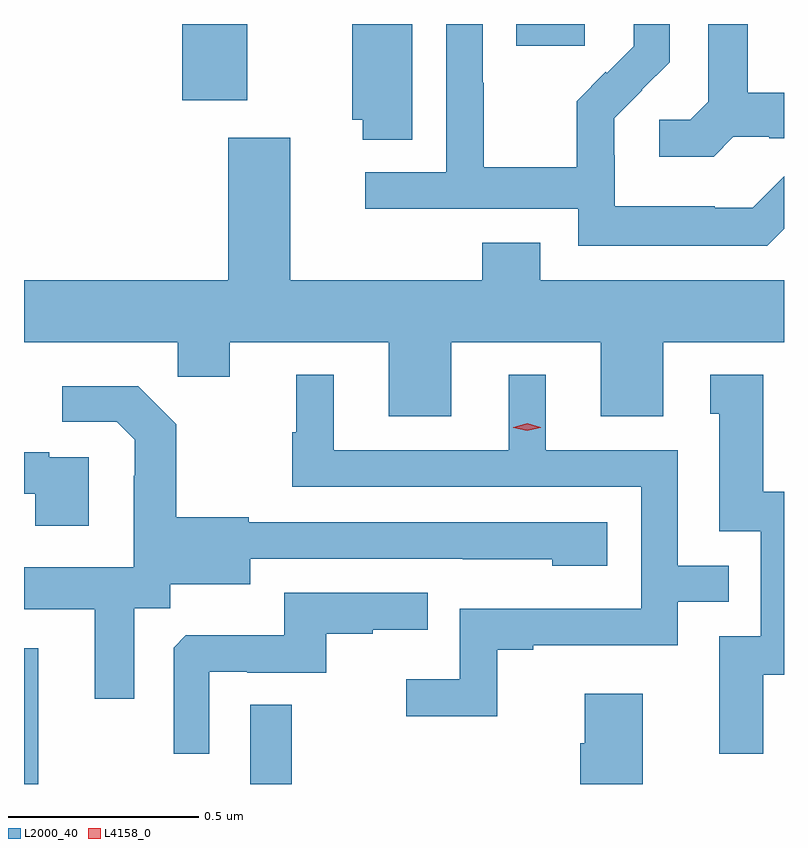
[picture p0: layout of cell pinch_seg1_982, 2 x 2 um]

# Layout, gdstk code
import gdstk
lib = gdstk.Library(unit=1e-6, precision=1e-09)
def R(c, l, rs):  # rectangles x0, y0, x1, y1
    for r in rs: c.add(gdstk.rectangle(r[:2], r[2:], *l))
def P(c, l, *ps):  # polygons
    for p in ps: c.add(gdstk.Polygon(p, *l))
L2000_40 = (2000, 40)
L4158_0 = (4158, 0)

pinch_seg1_982 = lib.new_cell('pinch_seg1_982')
R(pinch_seg1_982, L2000_40, [(164.471,547.906,164.509,548.263), (165.066,547.906,165.175,548.114), (164.888,549.705,165.058,549.906), (165.767,549.849,165.946,549.906)])
P(pinch_seg1_982, L2000_40, [(166.471,549.367),(166.471,549.505),(166.389,549.423),(166.289,549.423),(166.289,549.427),(166.026,549.427),(166.026,549.561),(166.024,549.561),(166.024,549.658),(166.098,549.732),(166.097,549.733),(166.17,549.806),(166.17,549.906),(166.076,549.906),(166.076,549.848),(166.005,549.777),(166.002,549.78),(165.925,549.703),(165.925,549.529),(165.681,549.529),(165.681,549.752),(165.678,549.752),(165.678,549.906),(165.582,549.906),(165.582,549.516),(165.369,549.516),(165.369,549.42),(165.93,549.42),(165.93,549.323),(166.427,549.323)],
  [(165.493,549.906),(165.335,549.906),(165.335,549.654),(165.362,549.654),(165.362,549.601),(165.493,549.601)],
  [(166.338,549.609),(166.432,549.609),(166.432,549.606),(166.471,549.606),(166.471,549.725),(166.375,549.725),(166.375,549.906),(166.271,549.906),(166.271,549.701),(166.224,549.654),(166.143,549.654),(166.143,549.557),(166.286,549.557)],
  [(165.595,549.068),(165.989,549.068),(165.989,548.874),(166.153,548.874),(166.153,549.068),(166.471,549.068),(166.471,549.232),(165.829,549.232),(165.829,549.331),(165.677,549.331),(165.677,549.232),(165.172,549.232),(165.172,549.607),(165.008,549.607),(165.008,549.232),(164.471,549.232),(164.471,549.068),(164.875,549.068),(164.875,548.978),(165.013,548.978),(165.013,549.068),(165.431,549.068),(165.431,548.874),(165.595,548.874)],
  [(166.417,548.194),(166.471,548.194),(166.471,548.675),(166.417,548.675),(166.417,548.983),(166.277,548.983),(166.277,548.88),(166.301,548.88),(166.301,548.571),(166.41,548.571),(166.41,548.295),(166.301,548.295),(166.301,547.986),(166.417,547.986)],
  [(165.717,548.259),(165.811,548.259),(165.811,548.271),(166.191,548.271),(166.191,548.385),(166.325,548.385),(166.325,548.481),(166.191,548.481),(166.191,548.784),(165.844,548.784),(165.844,548.983),(165.746,548.983),(165.746,548.784),(165.286,548.784),(165.286,548.983),(165.188,548.983),(165.188,548.832),(165.177,548.832),(165.177,548.688),(166.095,548.688),(166.095,548.367),(165.618,548.367),(165.618,548.182),(165.477,548.182),(165.477,548.084),(165.717,548.084)],
  [(164.761,548.368),(164.856,548.368),(164.856,548.432),(165.067,548.432),(165.067,548.499),(165.625,548.499),(165.625,548.498),(165.861,548.498),(165.861,548.48),(166.006,548.48),(166.006,548.595),(165.063,548.595),(165.063,548.608),(164.871,548.608),(164.871,548.853),(164.771,548.953),(164.571,548.953),(164.571,548.859),(164.715,548.859),(164.762,548.812),(164.762,548.717),(164.76,548.717),(164.76,548.476),(164.471,548.476),(164.471,548.366),(164.657,548.366),(164.657,548.13),(164.761,548.13)],
  [(164.641,548.766),(164.537,548.766),(164.537,548.779),(164.471,548.779),(164.471,548.67),(164.501,548.67),(164.501,548.586),(164.641,548.586)],
  [(164.958,548.202),(165.058,548.202),(165.058,548.199),(165.266,548.199),(165.266,548.301),(165.389,548.301),(165.389,548.312),(165.533,548.312),(165.533,548.409),(165.156,548.409),(165.156,548.297),(164.897,548.297),(164.865,548.265),(164.865,547.985),(164.958,547.985)],
  [(166.099,548.143),(165.947,548.143),(165.947,548.013),(165.935,548.013),(165.935,547.906),(166.099,547.906)])
P(pinch_seg1_982, L4158_0, [(165.795,548.835),(165.759,548.844),(165.759,548.845),(165.759,548.845),(165.795,548.855),(165.831,548.845),(165.831,548.845),(165.831,548.844)])

lib.write_gds('pinch_seg1_982.gds')
